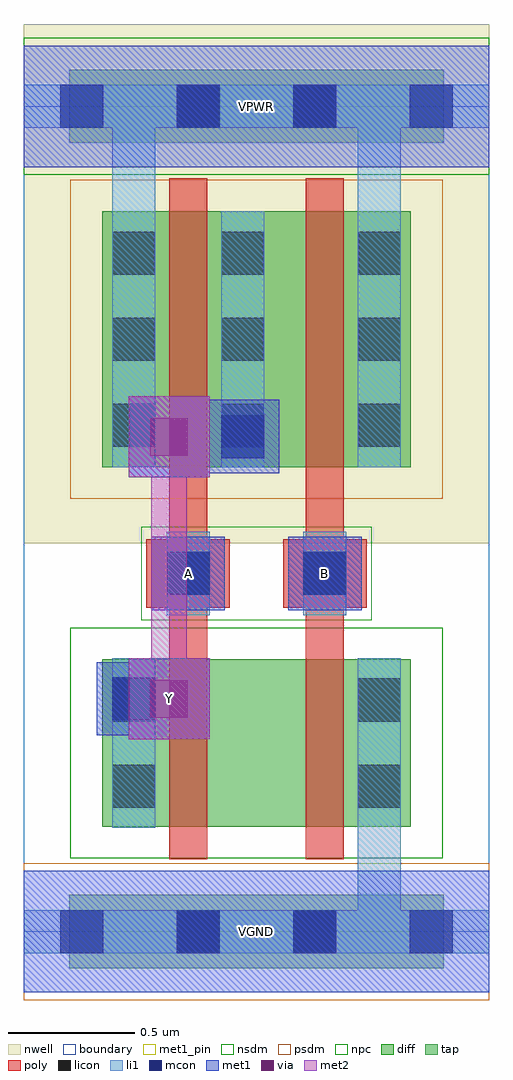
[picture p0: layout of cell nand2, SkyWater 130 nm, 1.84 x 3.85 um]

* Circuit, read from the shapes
.subckt nand2 A B VGND VPWR Y
XM1 n1 A Y VGND sky130_fd_pr__nfet_01v8 w=0.66 l=0.15
XM2 VGND B n1 VGND sky130_fd_pr__nfet_01v8 w=0.66 l=0.15
XM3 Y A VPWR VPWR sky130_fd_pr__pfet_01v8 w=1.01 l=0.15
XM4 VPWR B Y VPWR sky130_fd_pr__pfet_01v8 w=1.01 l=0.15
.ends

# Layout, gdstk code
import gdstk
lib = gdstk.Library(unit=1e-6, precision=1e-09)
def R(c, l, rs):  # rectangles x0, y0, x1, y1
    for r in rs: c.add(gdstk.rectangle(r[:2], r[2:], *l))
def A(c, l, x, y, w, h, nx, ny, dx, dy):  # array of equal rectangles
    R(c, l, [(x+i*dx, y+j*dy, x+i*dx+w, y+j*dy+h) for i in range(nx) for j in range(ny)])
nwell = (64, 20)
diff = (65, 20)
tap = (65, 44)
poly = (66, 20)
licon = (66, 44)
li1 = (67, 20)
mcon = (67, 44)
met1_pin = (68, 16)
met1 = (68, 20)
via = (68, 44)
met2 = (69, 20)
nsdm = (93, 44)
psdm = (94, 20)
npc = (95, 20)
boundary = (235, 4)

nand2 = lib.new_cell('nand2')
R(nand2, nwell, [(0,1.535,1.84,3.585)])
R(nand2, diff, [(0.31,0.415,1.53,1.075), (0.31,1.835,1.53,2.845)])
R(nand2, tap, [(0.18,-0.145,1.66,0.145), (0.18,3.115,1.66,3.405)])
R(nand2, poly, [(0.575,0.285,0.725,2.975), (1.115,0.285,1.265,2.975), (0.485,1.28,0.815,1.55), (1.025,1.28,1.355,1.55)])
A(nand2, licon, 0.35, 1.915, 0.17, 0.17, 1, 3, 0, 0.34)
A(nand2, licon, 0.78, 1.915, 0.17, 0.17, 1, 3, 0, 0.34)
A(nand2, licon, 1.32, 1.915, 0.17, 0.17, 1, 3, 0, 0.34)
R(nand2, licon, [(0.605,-0.085,0.775,0.085), (1.065,-0.085,1.235,0.085), (0.35,0.49,0.52,0.66), (1.32,0.49,1.49,0.66), (0.35,0.83,0.52,1), (1.32,0.83,1.49,1), (0.565,1.33,0.735,1.5), (1.105,1.33,1.275,1.5), (0.605,3.175,0.775,3.345), (1.065,3.175,1.235,3.345)])
R(nand2, li1, [(0,-0.085,1.84,0.085), (1.32,-0.085,1.49,1.08), (0.35,0.41,0.52,1.08), (1.32,0.41,1.49,1.08), (0.565,1.25,0.735,1.58), (1.105,1.25,1.275,1.58), (0.35,1.835,0.52,2.845), (0.35,1.835,0.52,3.345), (0.78,1.835,0.95,2.845), (1.32,1.835,1.49,2.845), (1.32,1.835,1.49,3.345), (0,3.175,1.84,3.345)])
A(nand2, mcon, 0.145, -0.085, 0.17, 0.17, 4, 2, 0.46, 3.26)
R(nand2, mcon, [(0.35,0.835,0.52,1.005), (0.565,1.33,0.735,1.5), (1.105,1.33,1.275,1.5), (0.78,1.87,0.95,2.04)])
R(nand2, met1_pin, [(0,-0.24,1.84,0.24), (0.415,0.76,0.735,1.08), (0.505,1.27,0.795,1.56), (1.045,1.27,1.335,1.56), (0,3.02,1.84,3.5)])
R(nand2, met1, [(0,-0.24,1.84,0.24), (0.415,0.76,0.735,1.08), (0.29,0.775,0.58,1.065), (0.365,0.85,0.645,0.99), (0.505,1.27,0.795,1.56), (1.045,1.27,1.335,1.56), (0.415,1.795,0.735,2.115), (0.72,1.81,1.01,2.1), (0.505,1.885,0.76,2.025), (0.62,1.885,0.935,2.025), (0,3.02,1.84,3.5)])
R(nand2, via, [(0.5,0.845,0.65,0.995), (0.5,1.88,0.65,2.03)])
R(nand2, met2, [(0.415,0.76,0.735,1.08), (0.505,0.85,0.645,2.025), (0.415,1.795,0.735,2.115)])
R(nand2, nsdm, [(0.185,0.29,1.655,1.2), (0,2.99,1.84,3.53)])
R(nand2, psdm, [(0,-0.27,1.84,0.27), (0.185,1.71,1.655,2.97)])
R(nand2, npc, [(0.465,1.23,1.375,1.6)])
R(nand2, boundary, [(0,0,1.84,3.26)])
nand2.add(gdstk.Label('A', (0.65,1.415), layer=68, texttype=5))
nand2.add(gdstk.Label('B', (1.19,1.415), layer=68, texttype=5))
nand2.add(gdstk.Label('Y', (0.575,0.92), layer=68, texttype=5))
nand2.add(gdstk.Label('VPWR', (0.92,3.26), layer=68, texttype=5))
nand2.add(gdstk.Label('VGND', (0.92,0), layer=68, texttype=5))
nand2.add(gdstk.Label('A', (0.65,1.415), layer=68, texttype=16))
nand2.add(gdstk.Label('B', (1.19,1.415), layer=68, texttype=16))
nand2.add(gdstk.Label('Y', (0.575,0.92), layer=68, texttype=16))
nand2.add(gdstk.Label('VPWR', (0.92,3.26), layer=68, texttype=16))
nand2.add(gdstk.Label('VGND', (0.92,0), layer=68, texttype=16))

lib.write_gds('nand2.gds')
